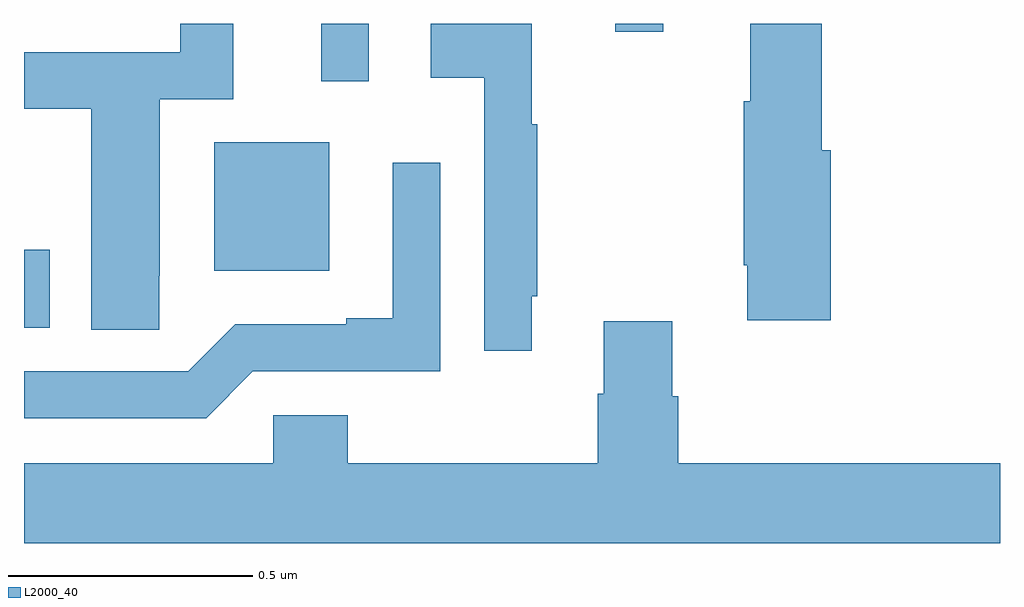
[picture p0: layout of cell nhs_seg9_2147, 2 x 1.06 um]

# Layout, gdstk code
import gdstk
lib = gdstk.Library(unit=1e-6, precision=1e-09)
def R(c, l, rs):  # rectangles x0, y0, x1, y1
    for r in rs: c.add(gdstk.rectangle(r[:2], r[2:], *l))
def P(c, l, *ps):  # polygons
    for p in ps: c.add(gdstk.Polygon(p, *l))
L2000_40 = (2000, 40)

nhs_seg9_2147 = lib.new_cell('nhs_seg9_2147')
R(nhs_seg9_2147, L2000_40, [(137,1180.877,137.053,1181.037), (137.39,1180.994,137.626,1181.257), (137.609,1181.382,137.706,1181.5), (138.212,1181.484,138.31,1181.5)])
P(nhs_seg9_2147, L2000_40, [(137.277,1180.984),(137.278,1180.984),(137.278,1181.346),(137.429,1181.346),(137.429,1181.5),(137.32,1181.5),(137.32,1181.442),(137,1181.442),(137,1181.326),(137.138,1181.326),(137.138,1180.873),(137.277,1180.873)],
  [(138.653,1181.241),(138.635,1181.241),(138.635,1181.5),(138.488,1181.5),(138.488,1181.341),(138.475,1181.341),(138.475,1181.005),(138.482,1181.005),(138.482,1180.893),(138.653,1180.893)],
  [(138.04,1180.942),(138.052,1180.942),(138.052,1181.294),(138.04,1181.294),(138.04,1181.5),(137.834,1181.5),(137.834,1181.39),(137.943,1181.39),(137.943,1180.83),(138.04,1180.83)],
  [(137.469,1180.788),(137.853,1180.788),(137.853,1181.215),(137.756,1181.215),(137.756,1180.897),(137.66,1180.897),(137.66,1180.884),(137.433,1180.884),(137.337,1180.788),(137,1180.788),(137,1180.692),(137.373,1180.692)],
  [(139,1180.6),(138.341,1180.6),(138.341,1180.737),(138.328,1180.737),(138.328,1180.891),(138.188,1180.891),(138.188,1180.742),(138.176,1180.742),(138.176,1180.6),(137.663,1180.6),(137.663,1180.698),(137.511,1180.698),(137.511,1180.6),(137,1180.6),(137,1180.436),(139,1180.436)])

lib.write_gds('nhs_seg9_2147.gds')
